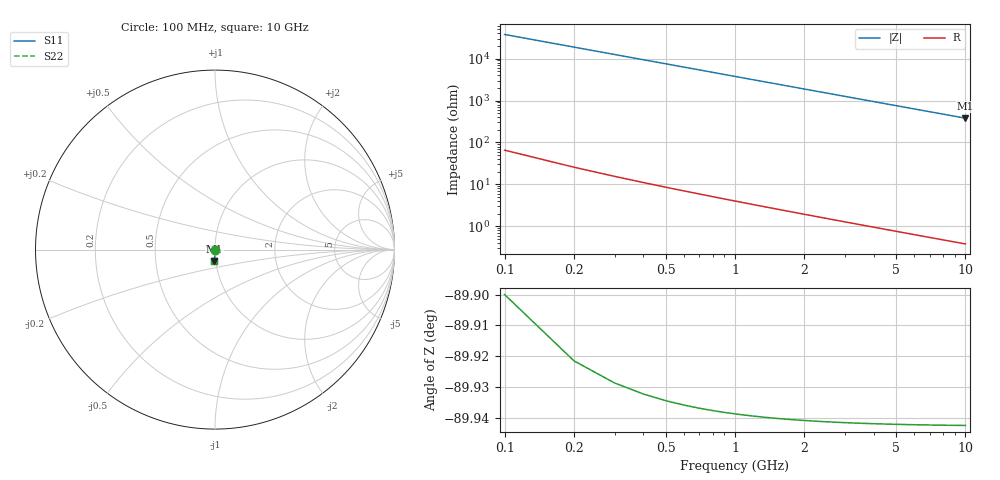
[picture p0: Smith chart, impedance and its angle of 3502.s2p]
# Hz S RI R 50.00
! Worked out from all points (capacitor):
!   100 points, 100 MHz to 10 GHz, reference 50 ohm
!   read as one part in shunt: C = 42.4 fF near 100 MHz
!   lowest |Z| = 380 ohm at 10 GHz (marker M1)
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1e8  -1.1e-06 -0.000664  1 -0.000668  1 -0.000668  -1.1e-06 -0.000664
2e8  -3.09e-06 -0.00133  1 -0.00134  1 -0.00134  -3.09e-06 -0.00133
3e8  -5.97e-06 -0.00199  1 -0.002  1 -0.002  -5.97e-06 -0.00199
4e8  -9.73e-06 -0.00266  1 -0.00267  1 -0.00267  -9.73e-06 -0.00266
5e8  -1.44e-05 -0.00332  1 -0.00334  1 -0.00334  -1.44e-05 -0.00332
6e8  -1.99e-05 -0.00399  1 -0.004  1 -0.004  -1.99e-05 -0.00399
7e8  -2.63e-05 -0.00465  1 -0.00467  1 -0.00467  -2.63e-05 -0.00465
8e8  -3.36e-05 -0.00531  1 -0.00534  1 -0.00534  -3.36e-05 -0.00531
9e8  -4.18e-05 -0.00598  1 -0.00601  1 -0.00601  -4.18e-05 -0.00598
1.1e9  -6.09e-05 -0.0073  0.9999 -0.00734  0.9999 -0.00734  -6.09e-05 -0.0073
1.4e9  -9.6e-05 -0.00929  0.9999 -0.00934  0.9999 -0.00934  -9.6e-05 -0.00929
1.8e9  -0.000155 -0.0119  0.9998 -0.012  0.9998 -0.012  -0.000155 -0.0119
2.1e9  -0.000209 -0.0139  0.9998 -0.014  0.9998 -0.014  -0.000209 -0.0139
2.5e9  -0.000292 -0.0166  0.9997 -0.0166  0.9997 -0.0166  -0.000292 -0.0166
2.9e9  -0.00039 -0.0192  0.9996 -0.0193  0.9996 -0.0193  -0.00039 -0.0192
3.4e9  -0.000531 -0.0225  0.9995 -0.0226  0.9995 -0.0226  -0.000531 -0.0225
4.2e9  -0.000803 -0.0278  0.9992 -0.0279  0.9992 -0.0279  -0.000803 -0.0278
5.1e9  -0.00117 -0.0336  0.9988 -0.0338  0.9988 -0.0338  -0.00117 -0.0336
5.9e9  -0.00156 -0.0389  0.9984 -0.0391  0.9984 -0.0391  -0.00156 -0.0389
6.7e9  -0.002 -0.0441  0.998 -0.0443  0.998 -0.0443  -0.002 -0.0441
8.4e9  -0.00311 -0.0551  0.9969 -0.0554  0.9969 -0.0554  -0.00311 -0.0551
1e10  -0.00438 -0.0654  0.9956 -0.0657  0.9956 -0.0657  -0.00438 -0.0654
